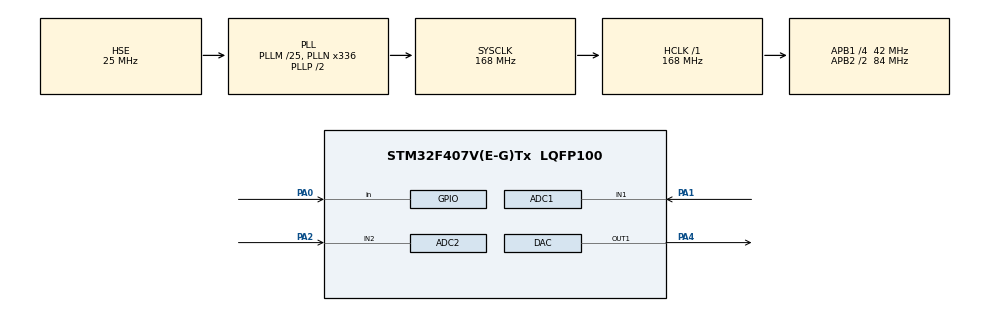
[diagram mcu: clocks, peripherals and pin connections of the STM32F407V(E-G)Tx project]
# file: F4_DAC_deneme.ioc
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ADC1.Channel-1\#ChannelRegularConversion=ADC_CHANNEL_1
ADC1.Channel-2\#ChannelRegularConversion=ADC_CHANNEL_1
ADC1.NbrOfConversion=2
ADC1.NbrOfConversionFlag=1
ADC1.Rank-1\#ChannelRegularConversion=1
ADC1.Rank-2\#ChannelRegularConversion=2
ADC1.SamplingTime-1\#ChannelRegularConversion=ADC_SAMPLETIME_3CYCLES
ADC1.SamplingTime-2\#ChannelRegularConversion=ADC_SAMPLETIME_3CYCLES
ADC1.master=1
ADC2.Channel-0\#ChannelRegularConversion=ADC_CHANNEL_2
ADC2.NbrOfConversionFlag=1
ADC2.Rank-0\#ChannelRegularConversion=1
ADC2.SamplingTime-0\#ChannelRegularConversion=ADC_SAMPLETIME_3CYCLES
Mcu.Family=STM32F4
Mcu.Name=STM32F407V(E-G)Tx
Mcu.Package=LQFP100
NVIC.PriorityGroup=NVIC_PRIORITYGROUP_4
PA0-WKUP.Signal=GPIO_Input
PA1.Signal=ADCx_IN1
PA13.Mode=Serial_Wire
PA13.Signal=SYS_JTMS-SWDIO
PA14.Mode=Serial_Wire
PA14.Signal=SYS_JTCK-SWCLK
PA2.Signal=ADCx_IN2
PA4.Signal=COMP_DAC1_group
PH0-OSC_IN.Mode=HSE-External-Oscillator
PH0-OSC_IN.Signal=RCC_OSC_IN
PH1-OSC_OUT.Mode=HSE-External-Oscillator
PH1-OSC_OUT.Signal=RCC_OSC_OUT
ProjectManager.HeapSize=0x200
ProjectManager.StackSize=0x400
ProjectManager.TargetToolchain=MDK-ARM V5.32
RCC.48MHZClocksFreq_Value=84000000
RCC.AHBFreq_Value=168000000
RCC.APB1CLKDivider=RCC_HCLK_DIV4
RCC.APB1Freq_Value=42000000
RCC.APB1TimFreq_Value=84000000
RCC.APB2CLKDivider=RCC_HCLK_DIV2
RCC.APB2Freq_Value=84000000
RCC.APB2TimFreq_Value=168000000
RCC.CortexFreq_Value=168000000
RCC.HCLKFreq_Value=168000000
RCC.HSE_VALUE=25000000
RCC.HSI_VALUE=16000000
RCC.LSE_VALUE=32768
RCC.PLLM=25
RCC.PLLN=336
RCC.PLLSourceVirtual=RCC_PLLSOURCE_HSE
RCC.SYSCLKFreq_VALUE=168000000
RCC.SYSCLKSource=RCC_SYSCLKSOURCE_PLLCLK
RCC.VCOOutputFreq_Value=336000000
SH.ADCx_IN1.0=ADC1_IN1,IN1
SH.ADCx_IN2.0=ADC2_IN2,IN2
SH.COMP_DAC1_group.0=DAC_OUT1,DAC_OUT1
TIM2.Period=99
TIM2.Prescaler=83
VP_TIM2_VS_ClockSourceINT.Mode=Internal
board=custom

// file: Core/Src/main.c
/* USER CODE BEGIN Header */
/**
  *******************************************************************************
  * @file           : main.c
  * @brief          : Main program body
  *******************************************************************************
  * @attention
  *
  * Copyright (c) 2024 STMicroelectronics.
  * All rights reserved.
  *
  * This software is licensed under terms that can be found in the LICENSE file
  * in the root directory of this software component.
  * If no LICENSE file comes with this software, it is provided AS-IS.
  *
  * @author         : Ayçe Mýsýrlýlar
  * @date           : 09.11.2024
  * @version        : 1.1
  *
  *******************************************************************************
  */
/* USER CODE END Header */
#include "main.h"

/* USER CODE BEGIN Includes */
#include "Controller.h"
#include "stdint.h"
/* USER CODE END Includes */

ADC_HandleTypeDef hadc1;
ADC_HandleTypeDef hadc2;

DAC_HandleTypeDef hdac;

TIM_HandleTypeDef htim2;

void SystemClock_Config(void);
static void MX_GPIO_Init(void);
static void MX_DAC_Init(void);
static void MX_TIM2_Init(void);
static void MX_ADC1_Init(void);
static void MX_ADC2_Init(void);

/* USER CODE BEGIN 0 */
//dalga serileri
uint16_t sawtooth[100] = {0, 41, 82, 123, 164, 205, 246, 287, 328, 369,
                        410, 451, 492, 533, 574, 615, 656, 697, 738, 779,
                        820, 861, 902, 943, 984, 1025, 1066, 1107, 1148, 1189,
                        1230, 1271, 1312, 1353, 1394, 1435, 1476, 1517, 1558, 1599,
                        1640, 1681, 1722, 1763, 1804, 1845, 1886, 1927, 1968, 2009,
                        2050, 2091, 2132, 2173, 2214, 2255, 2296, 2337, 2378, 2419,
                        2460, 2501, 2542, 2583, 2624, 2665, 2706, 2747, 2788, 2829,
                        2870, 2911, 2952, 2993, 3034, 3075, 3116, 3157, 3198, 3239,
                        3280, 3321, 3362, 3403, 3444, 3485, 3526, 3567, 3608, 3649,
                        3690, 3731, 3772, 3813, 3854, 3895, 3936, 3977, 4018, 4059};
uint16_t triangle[100] = {0, 81, 162, 243, 324, 405, 486, 567, 648, 729,
                        810, 891, 972, 1053, 1134, 1215, 1296, 1377, 1458, 1539,
                        1620, 1701, 1782, 1863, 1944, 2025, 2106, 2187, 2268, 2349,
                        2430, 2511, 2592, 2673, 2754, 2835, 2916, 2997, 3078, 3159,
                        3240, 3321, 3402, 3483, 3564, 3645, 3726, 3807, 3888, 3969,
                        4050, 3969, 3888, 3807, 3726, 3645, 3564, 3483, 3402, 3321,
                        3240, 3159, 3078, 2997, 2916, 2835, 2754, 2673, 2592, 2511,
                        2430, 2349, 2268, 2187, 2106, 2025, 1944, 1863, 1782, 1701,
                        1620, 1539, 1458, 1377, 1296, 1215, 1134, 1053, 972, 891,
                        810, 729, 648, 567, 486, 405, 324, 243, 162, 81};
uint16_t sinewave[100] = {0, 4, 16, 36, 64, 100, 144, 195, 253, 319,
                        391, 470, 555, 646, 742, 844, 950, 1061, 1176, 1294,
                        1415, 1538, 1664, 1791, 1919, 2048, 2176, 2304, 2431, 2557,
                        2680, 2801, 2919, 3034, 3145, 3251, 3353, 3449, 3540, 3625,
                        3704, 3776, 3842, 3900, 3951, 3995, 4031, 4059, 4079, 4091,
                        4095, 4091, 4079, 4059, 4031, 3995, 3951, 3900, 3842, 3776,
                        3704, 3625, 3540, 3449, 3353, 3251, 3145, 3034, 2919, 2801,
                        2680, 2557, 2431, 2304, 2176, 2048, 1919, 1791, 1664, 1538,
                        1415, 1294, 1176, 1061, 950, 844, 742, 646, 555, 470,
                        391, 319, 253, 195, 144, 100, 64, 36, 16, 4};
uint16_t squarewave[100] = {0, 0, 0, 0, 0, 0, 0, 0, 0, 0, 0, 0, 0, 0, 0, 0, 0, 0, 0,
	                    0, 0, 0, 0, 0, 0, 0, 0, 0, 0, 0, 0, 0, 0, 0, 0, 0, 0, 0,
	                    0, 0, 0, 0, 0, 0, 0, 0, 0, 0, 0, 0, 4095, 4095, 4095, 4095,
			    4095, 4095, 4095, 4095, 4095, 4095, 4095, 4095, 4095, 4095,
			    4095, 4095, 4095, 4095, 4095, 4095, 4095, 4095, 4095, 4095,
			    4095, 4095, 4095, 4095, 4095, 4095, 4095, 4095, 4095, 4095,
			    4095, 4095, 4095, 4095, 4095, 4095, 4095, 4095, 4095, 4095,
			    4095, 4095, 4095, 4095, 0, 0};

uint16_t *waveforms[] = {sawtooth, triangle, sinewave, squarewave};
uint8_t num_waveforms = sizeof(waveforms) / sizeof(waveforms[0]);

void microDelay (uint16_t delay);
uint16_t read_frequency_potentiometer(void);
uint16_t read_amplitude_potentiometer(void);
void generate_waveform(void);
void ButtonRead(void);
void DAC_Waves(void);
void change_waveform(void) ;
/* USER CODE END 0 */

int main(void)
{

  /* MCU Configuration--------------------------------------------------------*/

  /* Reset of all peripherals, Initializes the Flash interface and the Systick. */
  HAL_Init();

  /* Configure the system clock */
  SystemClock_Config();

  /* Initialize all configured peripherals */
  MX_GPIO_Init();
  MX_DAC_Init();
  MX_TIM2_Init();
  MX_ADC1_Init();
  MX_ADC2_Init();
  /* USER CODE BEGIN 2 */
  HAL_DAC_Start(&hdac, DAC_CHANNEL_1);
  HAL_TIM_Base_Start(&htim2);

  uint8_t current_wave_type = 0;
  uint8_t last_button_state = GPIO_PIN_RESET;  // butonun önceki durumu

  /* USER CODE END 2 */

  /* Infinite loop */
  /* USER CODE BEGIN WHILE */
  while (1)
  {
		    //buton durum
    if (HAL_GPIO_ReadPin(GPIOA, GPIO_PIN_0) == GPIO_PIN_SET && last_button_state == GPIO_PIN_RESET)
			{
        // dalga degistir
					if (current_wave_type == SineWave) {
							current_wave_type = Sawtooth;  // Sine -> Sawtooth
					} else if (current_wave_type == Sawtooth) {
							current_wave_type = Triangle;  // Sawtooth -> Triangle
					} else if (current_wave_type == Triangle) {
							current_wave_type = Square;  // Triangle -> Square
					} else if (current_wave_type == Square) {
							current_wave_type = SineWave;  // Square -> Sine
					}

        // debounce
        HAL_Delay(200);
			}

    // son buton durumunu kaydet
    last_button_state = HAL_GPIO_ReadPin(GPIOA, GPIO_PIN_0); // buton

    // pot degerlerini oku
		uint16_t adc_value_freq = read_frequency_potentiometer(); // PA1 - Frekans ayari
		uint16_t adc_value_amp = read_amplitude_potentiometer(); // PA2 - Genlik ayari

		// Frekansi (delay_time) ayarla
		uint16_t delay_time = (adc_value_freq / 4095.0) * 10;  // 0-10 arasinda bir gecikme

		// Genligi (amplitude) ayarla
		uint16_t amplitude = (adc_value_amp / 4095.0) * 4095;  // 0-4095 arasinda genlik

    // dalgayi dac a gönder
	switch (current_wave_type)
	{
    case SineWave:
        for (uint8_t i = 0; i < 100; i++)
				{
            uint16_t scaled_value = (sinewave[i] * amplitude) / 4095;  // genlik ile ölçeklendir
            HAL_DAC_SetValue(&hdac, DAC_CHANNEL_1, DAC_ALIGN_12B_R, scaled_value);
            microDelay(delay_time); // pota bagli gecikme (frekans)
        }
        break;

    case Sawtooth:
        for (uint8_t i = 0; i < 100; i++)
				{
            uint16_t scaled_value = (sawtooth[i] * amplitude) / 4095;  // genlik ile ölçeklendir
            HAL_DAC_SetValue(&hdac, DAC_CHANNEL_1, DAC_ALIGN_12B_R, scaled_value);
            microDelay(delay_time); // pota bagli gecikme (frekans)
        }
        break;

    case Triangle:
        for (uint8_t i = 0; i < 100; i++)
				{
            uint16_t scaled_value = (triangle[i] * amplitude) / 4095;  // genlik ile ölçeklendir
            HAL_DAC_SetValue(&hdac, DAC_CHANNEL_1, DAC_ALIGN_12B_R, scaled_value);
            microDelay(delay_time); // pota bagli gecikme (frekans)
        }
        break;

    case Square:
        for (uint8_t i = 0; i < 100; i++)
				{
            uint16_t scaled_value = (squarewave[i] * amplitude) / 4095;  // genlik ile ölçeklendir
            HAL_DAC_SetValue(&hdac, DAC_CHANNEL_1, DAC_ALIGN_12B_R, scaled_value);
            microDelay(delay_time); // pota bagli gecikme (frekans)
        }
        break;
	}

    /* USER CODE END WHILE */

	}
}

void SystemClock_Config(void)
{
  RCC_OscInitTypeDef RCC_OscInitStruct = {0};
  RCC_ClkInitTypeDef RCC_ClkInitStruct = {0};

  /** Configure the main internal regulator output voltage
  */
  __HAL_RCC_PWR_CLK_ENABLE();
  __HAL_PWR_VOLTAGESCALING_CONFIG(PWR_REGULATOR_VOLTAGE_SCALE1);

  /** Initializes the RCC Oscillators according to the specified parameters
  * in the RCC_OscInitTypeDef structure.
  */
  RCC_OscInitStruct.OscillatorType = RCC_OSCILLATORTYPE_HSE;
  RCC_OscInitStruct.HSEState = RCC_HSE_ON;
  RCC_OscInitStruct.PLL.PLLState = RCC_PLL_ON;
  RCC_OscInitStruct.PLL.PLLSource = RCC_PLLSOURCE_HSE;
  RCC_OscInitStruct.PLL.PLLM = 25;
  RCC_OscInitStruct.PLL.PLLN = 336;
  RCC_OscInitStruct.PLL.PLLP = RCC_PLLP_DIV2;
  RCC_OscInitStruct.PLL.PLLQ = 4;
  if (HAL_RCC_OscConfig(&RCC_OscInitStruct) != HAL_OK)
  {
    Error_Handler();
  }

  /** Initializes the CPU, AHB and APB buses clocks
  */
  RCC_ClkInitStruct.ClockType = RCC_CLOCKTYPE_HCLK|RCC_CLOCKTYPE_SYSCLK
                              |RCC_CLOCKTYPE_PCLK1|RCC_CLOCKTYPE_PCLK2;
  RCC_ClkInitStruct.SYSCLKSource = RCC_SYSCLKSOURCE_PLLCLK;
  RCC_ClkInitStruct.AHBCLKDivider = RCC_SYSCLK_DIV1;
  RCC_ClkInitStruct.APB1CLKDivider = RCC_HCLK_DIV4;
  RCC_ClkInitStruct.APB2CLKDivider = RCC_HCLK_DIV2;

  if (HAL_RCC_ClockConfig(&RCC_ClkInitStruct, FLASH_LATENCY_5) != HAL_OK)
  {
    Error_Handler();
  }
}

static void MX_ADC1_Init(void)
{

  ADC_ChannelConfTypeDef sConfig = {0};

  /** Configure the global features of the ADC (Clock, Resolution, Data Alignment and number of conversion)
  */
  hadc1.Instance = ADC1;
  hadc1.Init.ClockPrescaler = ADC_CLOCK_SYNC_PCLK_DIV4;
  hadc1.Init.Resolution = ADC_RESOLUTION_12B;
  hadc1.Init.ScanConvMode = ENABLE;
  hadc1.Init.ContinuousConvMode = DISABLE;
  hadc1.Init.DiscontinuousConvMode = DISABLE;
  hadc1.Init.ExternalTrigConvEdge = ADC_EXTERNALTRIGCONVEDGE_NONE;
  hadc1.Init.ExternalTrigConv = ADC_SOFTWARE_START;
  hadc1.Init.DataAlign = ADC_DATAALIGN_RIGHT;
  hadc1.Init.NbrOfConversion = 2;
  hadc1.Init.DMAContinuousRequests = DISABLE;
  hadc1.Init.EOCSelection = ADC_EOC_SINGLE_CONV;
  if (HAL_ADC_Init(&hadc1) != HAL_OK)
  {
    Error_Handler();
  }

  /** Configure for the selected ADC regular channel its corresponding rank in the sequencer and its sample time.
  */
  sConfig.Channel = ADC_CHANNEL_1;
  sConfig.Rank = 1;
  sConfig.SamplingTime = ADC_SAMPLETIME_3CYCLES;
  if (HAL_ADC_ConfigChannel(&hadc1, &sConfig) != HAL_OK)
  {
    Error_Handler();
  }

  /** Configure for the selected ADC regular channel its corresponding rank in the sequencer and its sample time.
  */
  sConfig.Rank = 2;
  if (HAL_ADC_ConfigChannel(&hadc1, &sConfig) != HAL_OK)
  {
    Error_Handler();
  }

}

static void MX_ADC2_Init(void)
{

  ADC_ChannelConfTypeDef sConfig = {0};

  /** Configure the global features of the ADC (Clock, Resolution, Data Alignment and number of conversion)
  */
  hadc2.Instance = ADC2;
  hadc2.Init.ClockPrescaler = ADC_CLOCK_SYNC_PCLK_DIV4;
  hadc2.Init.Resolution = ADC_RESOLUTION_12B;
  hadc2.Init.ScanConvMode = DISABLE;
  hadc2.Init.ContinuousConvMode = DISABLE;
  hadc2.Init.DiscontinuousConvMode = DISABLE;
  hadc2.Init.ExternalTrigConvEdge = ADC_EXTERNALTRIGCONVEDGE_NONE;
  hadc2.Init.ExternalTrigConv = ADC_SOFTWARE_START;
  hadc2.Init.DataAlign = ADC_DATAALIGN_RIGHT;
  hadc2.Init.NbrOfConversion = 1;
  hadc2.Init.DMAContinuousRequests = DISABLE;
  hadc2.Init.EOCSelection = ADC_EOC_SINGLE_CONV;
  if (HAL_ADC_Init(&hadc2) != HAL_OK)
  {
    Error_Handler();
  }

  /** Configure for the selected ADC regular channel its corresponding rank in the sequencer and its sample time.
  */
  sConfig.Channel = ADC_CHANNEL_2;
  sConfig.Rank = 1;
  sConfig.SamplingTime = ADC_SAMPLETIME_3CYCLES;
  if (HAL_ADC_ConfigChannel(&hadc2, &sConfig) != HAL_OK)
  {
    Error_Handler();
  }

}

static void MX_DAC_Init(void)
{

  DAC_ChannelConfTypeDef sConfig = {0};

  /** DAC Initialization
  */
  hdac.Instance = DAC;
  if (HAL_DAC_Init(&hdac) != HAL_OK)
  {
    Error_Handler();
  }

  /** DAC channel OUT1 config
  */
  sConfig.DAC_Trigger = DAC_TRIGGER_NONE;
  sConfig.DAC_OutputBuffer = DAC_OUTPUTBUFFER_ENABLE;
  if (HAL_DAC_ConfigChannel(&hdac, &sConfig, DAC_CHANNEL_1) != HAL_OK)
  {
    Error_Handler();
  }

}

static void MX_TIM2_Init(void)
{

  TIM_ClockConfigTypeDef sClockSourceConfig = {0};
  TIM_MasterConfigTypeDef sMasterConfig = {0};

  htim2.Instance = TIM2;
  htim2.Init.Prescaler = 83;
  htim2.Init.CounterMode = TIM_COUNTERMODE_UP;
  htim2.Init.Period = 99;
  htim2.Init.ClockDivision = TIM_CLOCKDIVISION_DIV1;
  htim2.Init.AutoReloadPreload = TIM_AUTORELOAD_PRELOAD_DISABLE;
  if (HAL_TIM_Base_Init(&htim2) != HAL_OK)
  {
    Error_Handler();
  }
  sClockSourceConfig.ClockSource = TIM_CLOCKSOURCE_INTERNAL;
  if (HAL_TIM_ConfigClockSource(&htim2, &sClockSourceConfig) != HAL_OK)
  {
    Error_Handler();
  }
  sMasterConfig.MasterOutputTrigger = TIM_TRGO_RESET;
  sMasterConfig.MasterSlaveMode = TIM_MASTERSLAVEMODE_DISABLE;
  if (HAL_TIMEx_MasterConfigSynchronization(&htim2, &sMasterConfig) != HAL_OK)
  {
    Error_Handler();
  }

}

static void MX_GPIO_Init(void)
{
  GPIO_InitTypeDef GPIO_InitStruct = {0};

  /* GPIO Ports Clock Enable */
  __HAL_RCC_GPIOH_CLK_ENABLE();
  __HAL_RCC_GPIOA_CLK_ENABLE();

  /*Configure GPIO pin : PA0 */
  GPIO_InitStruct.Pin = GPIO_PIN_0;
  GPIO_InitStruct.Mode = GPIO_MODE_INPUT;
  GPIO_InitStruct.Pull = GPIO_NOPULL;
  HAL_GPIO_Init(GPIOA, &GPIO_InitStruct);

}

void Error_Handler(void)
{
  __disable_irq();
  while (1)
  {
  }
}
